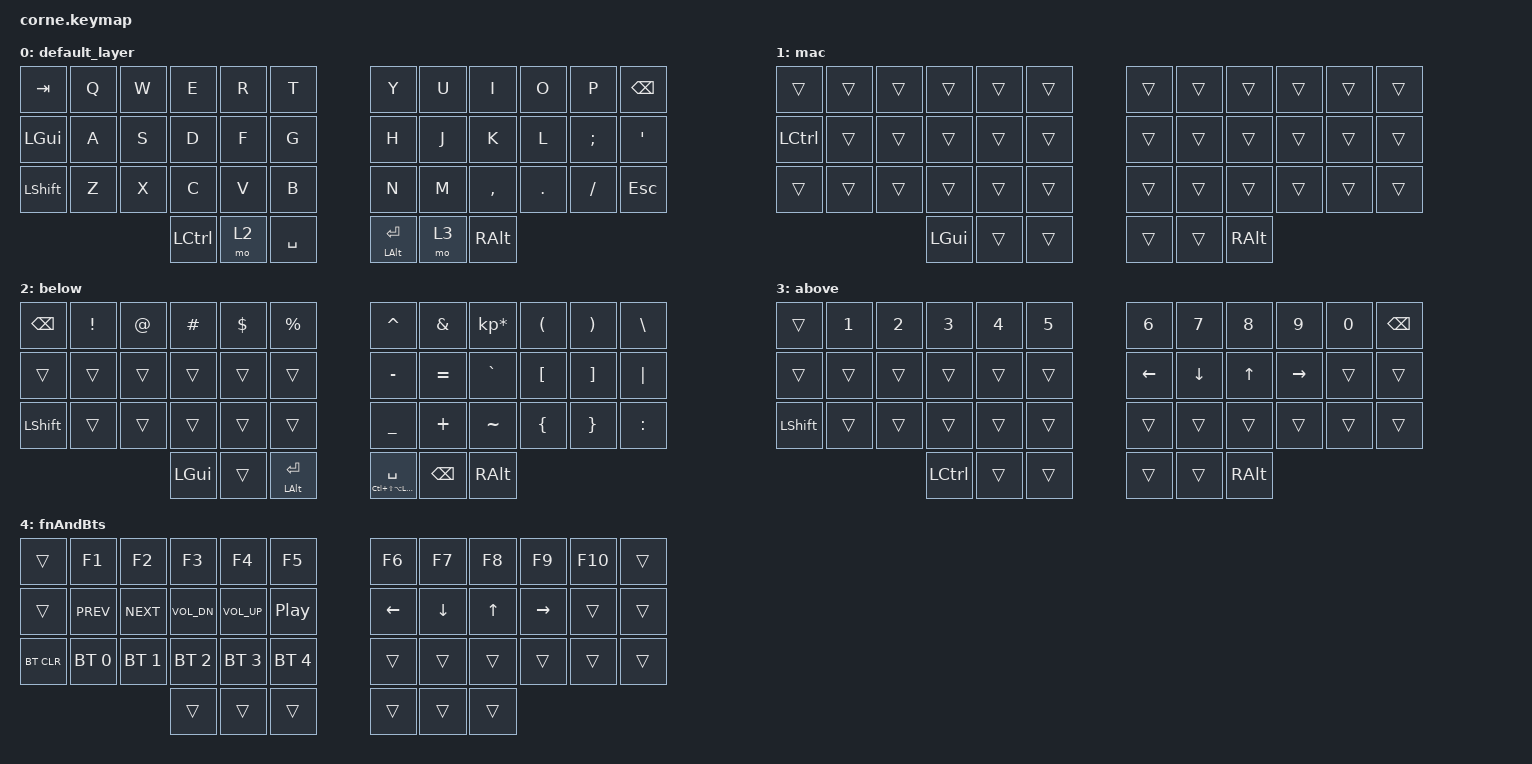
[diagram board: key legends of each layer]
/*
 * Copyright (c) 2020 The ZMK Contributors
 *
 * SPDX-License-Identifier: MIT
 */

#include <behaviors.dtsi>
#include <dt-bindings/zmk/bt.h>
#include <dt-bindings/zmk/keys.h>

/ {
    behaviors {
        tp: tap_preferred {
            compatible = "zmk,behavior-hold-tap";
            label = "TAP_PREFERRED";
            #binding-cells = <2>;
            tapping-term-ms = <150>;
            quick-tap-ms = <0>;
            flavor = "tap-preferred";
            bindings = <&kp>, <&kp>;
        };
    };

    combos {
        compatible = "zmk,combos";

        numbers {
            bindings = <&mo 4>;
            key-positions = <37 40>;
        };

        toggle_base {
            bindings = <&tog 1>;
            key-positions = <38 39 9>;
        };
    };

    macros {
        j_if: j_if {
            compatible = "zmk,behavior-macro";
            #binding-cells = <0>;
            bindings = <&kp I &kp F &kp SPACE &kp LPAR &kp RPAR &kp SPACE &kp LEFT_BRACE &kp RET &kp RET &kp RBRC &kp UP_ARROW &kp UP_ARROW &kp RIGHT_ARROW &kp RIGHT_ARROW &kp RIGHT_ARROW>;
            label = "J_IF";
            wait-ms = <10>;
        };

        j_for_classic: j_for_classic {
            compatible = "zmk,behavior-macro";
            #binding-cells = <0>;
            bindings = <&kp F &kp O &kp R &kp SPACE &kp LPAR &kp L &kp E &kp T &kp SPACE &kp I &kp SPACE &kp EQUAL &kp SPACE &kp N0 &kp SPACE &kp SEMI &kp SPACE &kp I &kp SPACE &kp LT &kp SPACE &kp SEMI &kp SPACE &kp I &kp PLUS &kp PLUS &kp RPAR &kp SPACE &kp LEFT_BRACE &kp RET &kp RET &kp RBRC>;
            label = "J_FOR_CLASSIC";
            wait-ms = <10>;
        };
    };

    keymap {
        compatible = "zmk,keymap";

        default_layer {
            // -----------------------------------------------------------------------------------------
            // |  TAB |  Q  |  W  |  E  |  R  |  T  |   |  Y  |  U   |  I  |  O  |  P  | BKSP |
            // |  GUI |  A  |  S  |  D  |  F  |  G  |   |  H  |  J   |  K  |  L  |  ;  |  '   |
            // | SHFT |  Z  |  X  |  C  |  V  |  B  |   |  N  |  M   |  ,  |  .  |  /  | ESC  |
            //                    |CTRL | LWR | SPC |   | ENT | RSE  | ALT |

            bindings = <
&kp TAB    &kp Q  &kp W  &kp E      &kp R  &kp T        &kp Y                &kp U  &kp I      &kp O    &kp P     &kp BSPC
&kp LGUI   &kp A  &kp S  &kp D      &kp F  &kp G        &kp H                &kp J  &kp K      &kp L    &kp SEMI  &kp SQT
&kp LSHFT  &kp Z  &kp X  &kp C      &kp V  &kp B        &kp N                &kp M  &kp COMMA  &kp DOT  &kp FSLH  &kp ESC
                         &kp LCTRL  &mo 2  &kp SPACE    &tp LEFT_ALT RETURN  &mo 3  &kp RALT
            >;
        };

        mac {
            bindings = <
&trans     &trans  &trans  &trans        &trans  &trans    &trans  &trans  &trans         &trans  &trans  &trans
&kp LCTRL  &trans  &trans  &trans        &trans  &trans    &trans  &trans  &trans         &trans  &trans  &trans
&trans     &trans  &trans  &trans        &trans  &trans    &trans  &trans  &trans         &trans  &trans  &trans
                           &kp LEFT_GUI  &trans  &trans    &trans  &trans  &kp RIGHT_ALT
            >;
        };

        below {
            // -----------------------------------------------------------------------------------------
            // |      |  !  |  @  |  #  |  $  |    %     |   |  ^  |  &  |  *  |  (  |  )  |   \   |
            // |      |  1  |  2  |  3  |  4  |    5     |   |  -  |  =  |  `  |  [  |  ]  |  "|"  |
            // | SHFT |  6  |  7  |  8  |  9  |    0     |   |  _  |  +  |  ~  |  {  |  }  | RSHFT |
            //                     | GUI |     | ALT/ENT |   | HYPER/SPACE | BKSP |    |

            bindings = <
&kp BSPC   &kp EXCL  &kp AT  &kp HASH  &kp DLLR  &kp PRCNT       &kp CARET                   &kp AMPS   &kp KP_MULTIPLY  &kp LPAR  &kp RPAR  &kp BSLH
&trans     &trans    &trans  &trans    &trans    &trans          &kp MINUS                   &kp EQUAL  &kp GRAVE        &kp LBKT  &kp RBKT  &kp PIPE
&kp LSHFT  &trans    &trans  &trans    &trans    &trans          &kp UNDER                   &kp PLUS   &kp TILDE        &kp LBRC  &kp RBRC  &kp COLON
                             &kp LGUI  &trans    &tp LALT RET    &tp LC(LS(LA(LGUI))) SPACE  &kp BSPC   &kp RIGHT_ALT
            >;
        };

        above {
            bindings = <
&trans          &kp N1  &kp N2  &kp N3     &kp N4  &kp N5    &kp N6    &kp N7    &kp N8         &kp N9     &kp N0  &kp BSPC
&trans          &trans  &trans  &trans     &trans  &trans    &kp LEFT  &kp DOWN  &kp UP         &kp RIGHT  &trans  &trans
&kp LEFT_SHIFT  &trans  &trans  &trans     &trans  &trans    &trans    &trans    &trans         &trans     &trans  &trans
                                &kp LCTRL  &trans  &trans    &trans    &trans    &kp RIGHT_ALT
            >;
        };

        fnAndBts {
            // -----------------------------------------------------------------------------------------
            // |       |  F1  |  F2  |  F3  |  F4  |  F5 |            |  F6  |  F7  |  F8  |  F9  |  F10  |   |
            // |       | Prev | Next | Vol - | Vol + | Play/Pause |   |      | LFT | DWN |  UP | RGT |     |     |
            // | BTCLR | BT1 | BT2 | BT3 | BT4 | BT5 |   |            |     |     |     |     |     |     |
            //                    |     |     |    |                  |     |     |     |

            bindings = <
&trans      &kp F1        &kp F2        &kp F3        &kp F4        &kp F5          &kp F6    &kp F7    &kp F8  &kp F9     &kp F10  &trans
&trans      &kp C_PREV    &kp C_NEXT    &kp C_VOL_DN  &kp C_VOL_UP  &kp C_PP        &kp LEFT  &kp DOWN  &kp UP  &kp RIGHT  &trans   &trans
&bt BT_CLR  &bt BT_SEL 0  &bt BT_SEL 1  &bt BT_SEL 2  &bt BT_SEL 3  &bt BT_SEL 4    &trans    &trans    &trans  &trans     &trans   &trans
                                        &trans        &trans        &trans          &trans    &trans    &trans
            >;
        };
    };
};
